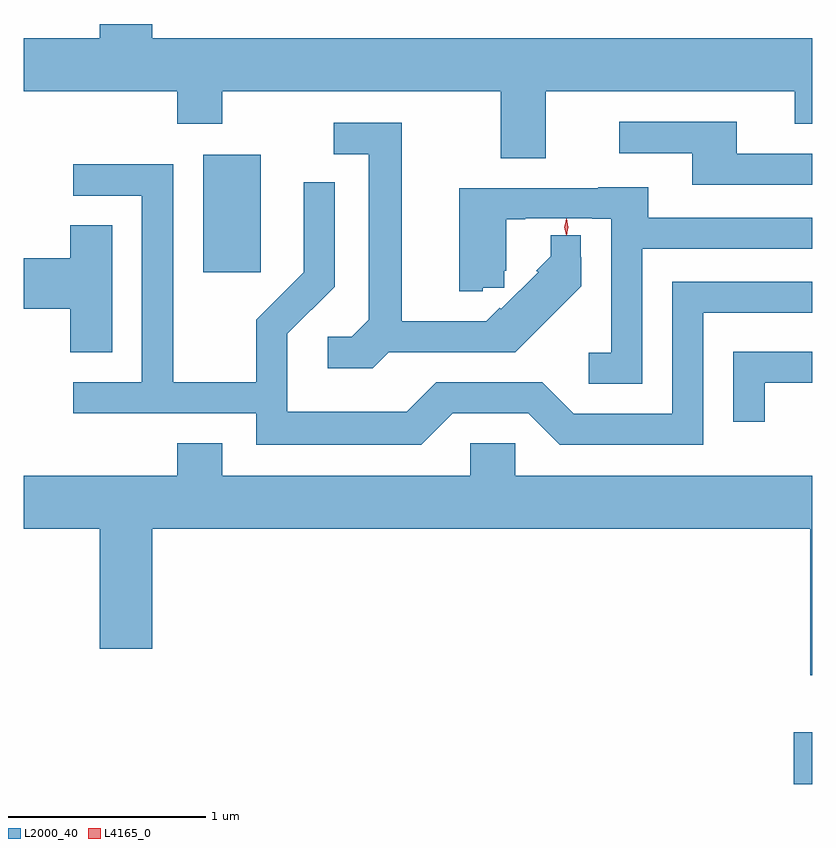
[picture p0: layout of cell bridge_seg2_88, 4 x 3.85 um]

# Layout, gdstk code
import gdstk
lib = gdstk.Library(unit=1e-6, precision=1e-09)
def R(c, l, rs):  # rectangles x0, y0, x1, y1
    for r in rs: c.add(gdstk.rectangle(r[:2], r[2:], *l))
def P(c, l, *ps):  # polygons
    for p in ps: c.add(gdstk.Polygon(p, *l))
L2000_40 = (2000, 40)
L4165_0 = (4165, 0)

bridge_seg2_88 = lib.new_cell('bridge_seg2_88')
R(bridge_seg2_88, L2000_40, [(1217.596,1109.181,1217.691,1109.444), (1214.601,1111.776,1214.894,1112.374)])
P(bridge_seg2_88, L2000_40, [(1216.339,1112.696),(1217.601,1112.696),(1217.601,1112.531),(1217.691,1112.531),(1217.691,1112.964),(1214.344,1112.964),(1214.344,1113.036),(1214.076,1113.036),(1214.076,1112.964),(1213.691,1112.964),(1213.691,1112.696),(1214.471,1112.696),(1214.471,1112.531),(1214.699,1112.531),(1214.699,1112.696),(1216.111,1112.696),(1216.111,1112.356),(1216.339,1112.356)],
  [(1217.691,1112.379),(1217.309,1112.379),(1217.309,1112.539),(1216.713,1112.539),(1216.713,1112.381),(1217.081,1112.381),(1217.081,1112.221),(1217.691,1112.221)],
  [(1215.542,1111.371),(1216.184,1111.371),(1216.519,1111.707),(1216.519,1111.853),(1216.516,1111.853),(1216.516,1111.965),(1216.365,1111.965),(1216.365,1111.859),(1216.292,1111.785),(1216.3,1111.777),(1216.113,1111.591),(1216.106,1111.597),(1216.038,1111.529),(1215.609,1111.529),(1215.609,1112.534),(1215.263,1112.534),(1215.263,1112.376),(1215.441,1112.376),(1215.441,1111.537),(1215.354,1111.449),(1215.233,1111.449),(1215.233,1111.291),(1215.462,1111.291)],
  [(1215.867,1111.061),(1216.249,1111.061),(1216.409,1110.901),(1217.139,1110.901),(1217.139,1111.571),(1217.691,1111.571),(1217.691,1111.729),(1216.981,1111.729),(1216.981,1111.059),(1216.482,1111.059),(1216.322,1111.219),(1215.784,1111.219),(1215.634,1111.069),(1215.029,1111.069),(1215.029,1111.464),(1215.269,1111.704),(1215.269,1112.233),(1215.111,1112.233),(1215.111,1111.777),(1214.871,1111.537),(1214.871,1111.219),(1214.449,1111.219),(1214.449,1112.324),(1213.943,1112.324),(1213.943,1112.166),(1214.291,1112.166),(1214.291,1111.219),(1213.943,1111.219),(1213.943,1111.061),(1214.871,1111.061),(1214.871,1110.901),(1215.707,1110.901)],
  [(1216.829,1111.896),(1217.691,1111.896),(1217.691,1112.054),(1216.859,1112.054),(1216.859,1112.209),(1216.605,1112.209),(1216.605,1112.204),(1215.901,1112.204),(1215.901,1111.681),(1216.02,1111.681),(1216.02,1111.698),(1216.128,1111.698),(1216.128,1111.785),(1216.138,1111.785),(1216.138,1112.046),(1216.235,1112.046),(1216.235,1112.05),(1216.575,1112.05),(1216.575,1112.049),(1216.671,1112.049),(1216.671,1111.369),(1216.558,1111.369),(1216.558,1111.211),(1216.829,1111.211)],
  [(1214.139,1112.014),(1213.926,1112.014),(1213.926,1111.849),(1213.691,1111.849),(1213.691,1111.591),(1213.926,1111.591),(1213.926,1111.371),(1214.139,1111.371)],
  [(1217.449,1111.216),(1217.691,1111.216),(1217.691,1111.374),(1217.291,1111.374),(1217.291,1111.018),(1217.449,1111.018)],
  [(1217.691,1110.744),(1216.184,1110.744),(1216.184,1110.909),(1215.956,1110.909),(1215.956,1110.744),(1214.699,1110.744),(1214.699,1110.909),(1214.471,1110.909),(1214.471,1110.744),(1213.691,1110.744),(1213.691,1110.476),(1214.076,1110.476),(1214.076,1109.866),(1214.344,1109.866),(1214.344,1110.476),(1217.681,1110.476),(1217.681,1109.733),(1217.691,1109.733)])
P(bridge_seg2_88, L4165_0, [(1216.442,1111.966),(1216.442,1111.967),(1216.432,1112.006),(1216.442,1112.046),(1216.442,1112.046),(1216.443,1112.046),(1216.452,1112.006),(1216.442,1111.967)],
  [(1216.444,1111.964),(1216.444,1111.964),(1216.435,1112.006),(1216.444,1112.048),(1216.445,1112.049),(1216.445,1112.048),(1216.454,1112.006),(1216.445,1111.964)])

lib.write_gds('bridge_seg2_88.gds')
